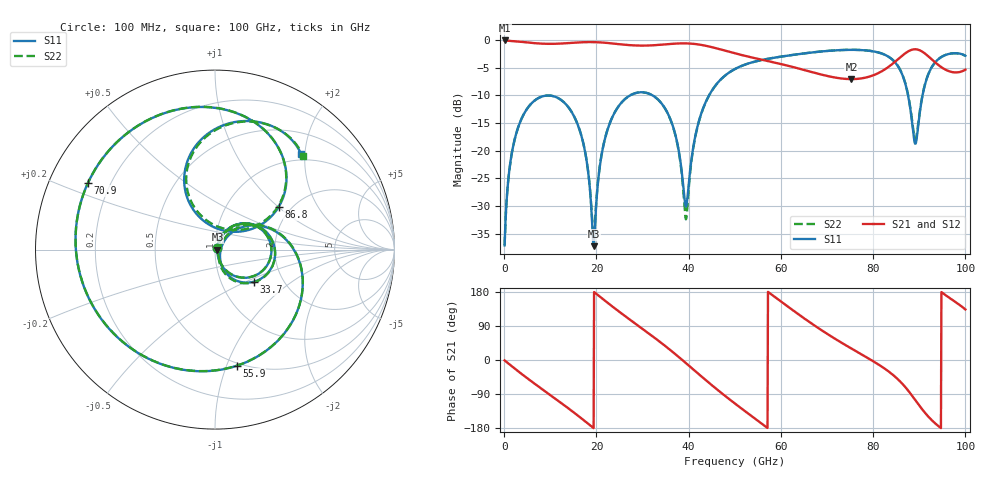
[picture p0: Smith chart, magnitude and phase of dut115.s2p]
! Touchstone file exported from HFSS 2026.1.0
!  File:  C:/ffzhzh/LocalFiles/Ansys_Project_Files/temp_train_TSV_RDL_115_1783457898_28540.aedt
!  Generated:  05:11:39 AM Jul  8, 2026
!  Design:  TSV_RDL
!  Project:  temp_train_TSV_RDL_115_1783457898_28540
! Variables:
!  h_bsmrdl = 4.62um
!  h_ox = 20um
!  h_rdl = 5um
!  h_sub = 82.52um
!  h_tmrdl = 3.4um
!  h_tsv = 82.52um
!  h_via = 3um
!  l_bsmrdl = 353.34um
!  l_sub = 2804.71um
!  l_tmrdl = 304.62um
!  m_sub = 200um
!  pitch = 42.13um
!  r_tsv = 14.1um
!  s_tmrdl = 10um
!  w_bsmrdl = 12.39um
!  w_sub = 500um
!  w_tmrdl = 29.68um
!  x_tsv_center1 = 319.46um
!  x_tsv_center2 = 685.19um
!  x_tsv_center3 = 1019.49um
!  x_tsv_center4 = 1385.22um
!  x_tsv_center5 = 1719.52um
!  x_tsv_center6 = 2085.25um
# GHz S MA R 50.000000
! Terminal data exported
! Port[1] = TM_RDL1_1_T1
! Port[2] = TM_RDL5_1_T1
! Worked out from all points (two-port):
!   1000 points, 100 MHz to 100 GHz, reference 50 ohm
!   highest |S21| = -0.11 dB at 100 MHz (marker M1); lowest = -7.1 dB at 75.3 GHz (marker M2)
!   |S21| within 3 dB of the highest: start of sweep to 53.33 GHz; 85.94 GHz to 92.15 GHz (6.209 GHz wide, 6.97 % of centre)
!   lowest |S11| = -37.3 dB at 19.4 GHz (marker M3), VSWR 1.03, Z = 51.4 - j0.0913 ohm
!   |S11| at or under -10 dB: start of sweep to 27.37 GHz; 32.12 GHz to 44.44 GHz (12.32 GHz wide, 32.2 % of centre); 87.57 GHz to 90.71 GHz (3.148 GHz wide, 3.53 % of centre)
!   |S22| runs from -37.1 to -1.8 dB; largest |S21 - S12| = 2.1e-14
!   S11 on the Smith chart (normalised r, x): 100 MHz: 1.02, +0.01; 33.7 GHz: 1.42, -0.55; 55.9 GHz: 0.48, -1.09; 70.9 GHz: 0.12, +0.24; 86.8 GHz: 1.73, +1.00; 100 GHz: 0.87, +1.92
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0.1  0.01392 28.0  0.9878 -1.1  0.9878 -1.1  0.01392 28.0
! Gamma 0 0 0 0
! Port Impedance 50 0 50 0
1.9  0.107 61.8  0.9767 -18.8  0.9767 -18.8  0.107 61.8
5.5  0.2551 32.4  0.943 -52.6  0.943 -52.6  0.255 32.5
11.2  0.3048 -15.8  0.9222 -103.0  0.9222 -103.0  0.3047 -15.6
16.8  0.1336 -62.2  0.951 -154.5  0.951 -154.5  0.1338 -61.3
19.4  0.0137 -3.7  0.9542 -179.7  0.9542 -179.7  0.01648 -3.4
23.7  0.2103 43.7  0.9259 139.0  0.9259 139.0  0.2106 42.6
33.4  0.2881 -37.3  0.8998 51.4  0.8998 51.4  0.2879 -38.7
33.7  0.2797 -39.8  0.9019 48.6  0.9019 48.6  0.2795 -41.2
37.1  0.1401 -65.1  0.9253 15.6  0.9253 15.6  0.139 -68.0
39.4  0.03119 -12.4  0.9295 -8.0  0.9295 -8.0  0.02395 -13.9
42.9  0.2265 35.8  0.8979 -44.7  0.8979 -44.7  0.2253 37.4
50.1  0.5474 -28.2  0.7552 -115.5  0.7552 -115.5  0.5469 -28.0
55.9  0.6586 -79.4  0.6612 -168.5  0.6612 -168.5  0.6582 -79.6
66.7  0.7694 -174.2  0.5119 95.9  0.5119 95.9  0.7695 -174.7
70.9  0.7993 152.3  0.4639 62.3  0.4639 62.3  0.7996 151.9
75.3  0.8127 120.7  0.4422 30.2  0.4422 30.2  0.8132 120.3
83.4  0.7011 63.7  0.5729 -30.7  0.5729 -30.7  0.7021 63.7
86.8  0.4259 33.8  0.7475 -69.1  0.7475 -69.1  0.4286 34.6
89.2  0.1155 77.8  0.8227 -106.8  0.8227 -106.8  0.1268 76.9
91.7  0.4567 111.8  0.7261 -145.8  0.7261 -145.8  0.459 110.1
100  0.7179 48.1  0.5381 133.3  0.5381 133.3  0.7167 46.9
